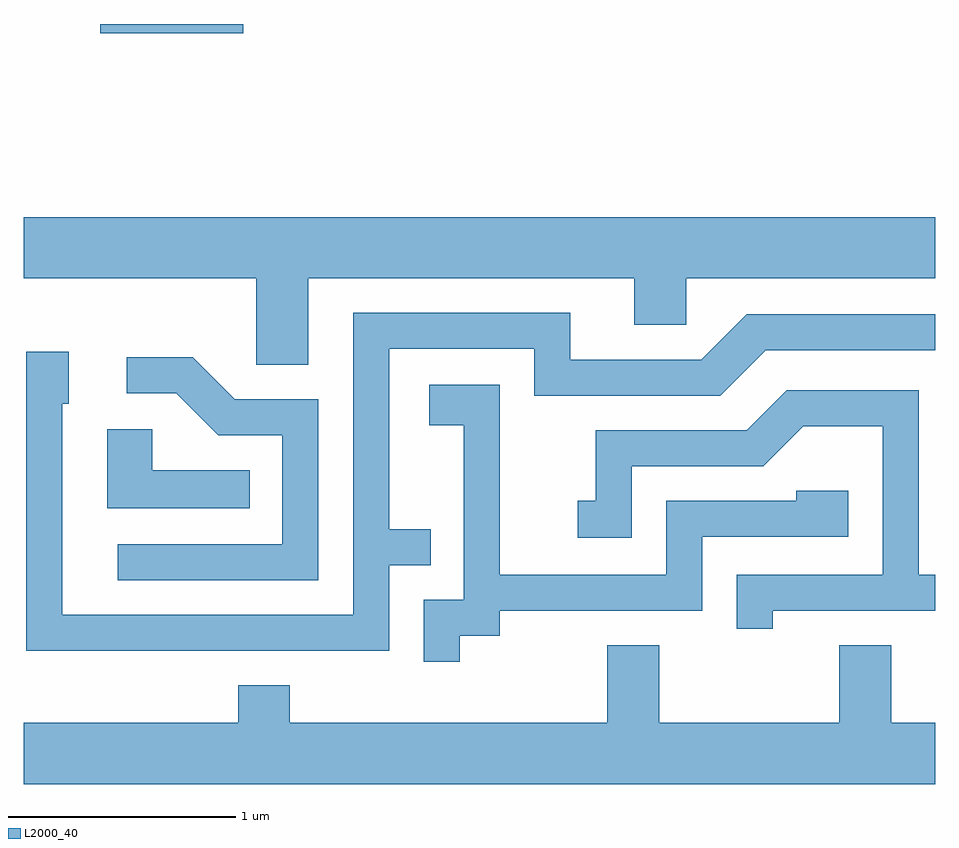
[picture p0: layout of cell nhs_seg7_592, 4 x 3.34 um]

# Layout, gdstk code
import gdstk
lib = gdstk.Library(unit=1e-6, precision=1e-09)
def R(c, l, rs):  # rectangles x0, y0, x1, y1
    for r in rs: c.add(gdstk.rectangle(r[:2], r[2:], *l))
def P(c, l, *ps):  # polygons
    for p in ps: c.add(gdstk.Polygon(p, *l))
L2000_40 = (2000, 40)

nhs_seg7_592 = lib.new_cell('nhs_seg7_592')
R(nhs_seg7_592, L2000_40, [(201.946,1784.211,202.574,1784.252)])
P(nhs_seg7_592, L2000_40, [(202.859,1783.136),(204.291,1783.136),(204.291,1782.931),(204.519,1782.931),(204.519,1783.136),(205.611,1783.136),(205.611,1783.404),(201.611,1783.404),(201.611,1783.136),(202.631,1783.136),(202.631,1782.756),(202.859,1782.756)],
  [(203.214,1781.876),(203.398,1781.876),(203.398,1782.034),(203.214,1782.034),(203.214,1782.826),(203.851,1782.826),(203.851,1782.621),(204.667,1782.621),(204.867,1782.821),(205.611,1782.821),(205.611,1782.979),(204.784,1782.979),(204.584,1782.779),(204.009,1782.779),(204.009,1782.984),(203.056,1782.984),(203.056,1781.659),(201.779,1781.659),(201.779,1782.586),(201.809,1782.586),(201.809,1782.814),(201.621,1782.814),(201.621,1781.501),(203.214,1781.501)],
  [(202.904,1782.604),(202.537,1782.604),(202.352,1782.789),(202.063,1782.789),(202.063,1782.631),(202.279,1782.631),(202.464,1782.446),(202.746,1782.446),(202.746,1781.969),(202.023,1781.969),(202.023,1781.811),(202.904,1781.811)],
  [(203.524,1781.566),(203.699,1781.566),(203.699,1781.676),(204.589,1781.676),(204.589,1782.001),(205.229,1782.001),(205.229,1782.204),(205.001,1782.204),(205.001,1782.159),(204.431,1782.159),(204.431,1781.834),(203.699,1781.834),(203.699,1782.669),(203.391,1782.669),(203.391,1782.491),(203.541,1782.491),(203.541,1781.724),(203.366,1781.724),(203.366,1781.453),(203.524,1781.453)],
  [(204.899,1781.676),(205.611,1781.676),(205.611,1781.834),(205.539,1781.834),(205.539,1782.644),(204.959,1782.644),(204.784,1782.469),(204.121,1782.469),(204.121,1782.159),(204.043,1782.159),(204.043,1781.996),(204.279,1781.996),(204.279,1782.311),(204.857,1782.311),(205.032,1782.486),(205.381,1782.486),(205.381,1781.834),(204.741,1781.834),(204.741,1781.598),(204.899,1781.598)],
  [(202.603,1782.294),(202.174,1782.294),(202.174,1782.474),(201.976,1782.474),(201.976,1782.126),(202.603,1782.126)],
  [(205.611,1781.184),(205.419,1781.184),(205.419,1781.524),(205.191,1781.524),(205.191,1781.184),(204.399,1781.184),(204.399,1781.524),(204.171,1781.524),(204.171,1781.184),(202.779,1781.184),(202.779,1781.349),(202.551,1781.349),(202.551,1781.184),(201.611,1781.184),(201.611,1780.916),(205.611,1780.916)])

lib.write_gds('nhs_seg7_592.gds')
